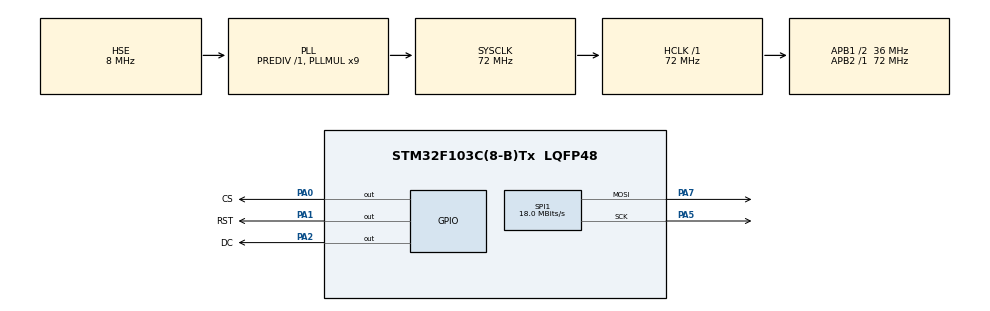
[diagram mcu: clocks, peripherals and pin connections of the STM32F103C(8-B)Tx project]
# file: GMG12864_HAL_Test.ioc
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Mcu.Family=STM32F1
Mcu.Name=STM32F103C(8-B)Tx
Mcu.Package=LQFP48
NVIC.PriorityGroup=NVIC_PRIORITYGROUP_4
PA0-WKUP.GPIO_Label=CS
PA0-WKUP.Signal=GPIO_Output
PA1.GPIO_Label=RST
PA1.Signal=GPIO_Output
PA13.Mode=Serial_Wire
PA13.Signal=SYS_JTMS-SWDIO
PA14.Mode=Serial_Wire
PA14.Signal=SYS_JTCK-SWCLK
PA2.GPIO_Label=DC
PA2.Signal=GPIO_Output
PA5.Mode=TX_Only_Simplex_Unidirect_Master
PA5.Signal=SPI1_SCK
PA7.Mode=TX_Only_Simplex_Unidirect_Master
PA7.Signal=SPI1_MOSI
PD0-OSC_IN.Mode=HSE-External-Oscillator
PD0-OSC_IN.Signal=RCC_OSC_IN
PD1-OSC_OUT.Mode=HSE-External-Oscillator
PD1-OSC_OUT.Signal=RCC_OSC_OUT
ProjectManager.HeapSize=0x200
ProjectManager.StackSize=0x400
ProjectManager.TargetToolchain=STM32CubeIDE
RCC.AHBFreq_Value=72000000
RCC.APB1CLKDivider=RCC_HCLK_DIV2
RCC.APB1Freq_Value=36000000
RCC.APB1TimFreq_Value=72000000
RCC.APB2Freq_Value=72000000
RCC.APB2TimFreq_Value=72000000
RCC.HCLKFreq_Value=72000000
RCC.PLLMUL=RCC_PLL_MUL9
RCC.PLLSourceVirtual=RCC_PLLSOURCE_HSE
RCC.SYSCLKFreq_VALUE=72000000
RCC.SYSCLKSource=RCC_SYSCLKSOURCE_PLLCLK
RCC.USBFreq_Value=72000000
SPI1.BaudRatePrescaler=SPI_BAUDRATEPRESCALER_4
SPI1.CLKPhase=SPI_PHASE_1EDGE
SPI1.CLKPolarity=SPI_POLARITY_LOW
SPI1.CalculateBaudRate=18.0 MBits/s
SPI1.Direction=SPI_DIRECTION_2LINES
SPI1.Mode=SPI_MODE_MASTER
SPI1.VirtualType=VM_MASTER
board=custom

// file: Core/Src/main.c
/* USER CODE BEGIN Header */
/**
 ******************************************************************************
 * @file           : main.c
 * @brief          : Main program body
 ******************************************************************************
 * @attention
 *
 * <h2><center>&copy; Copyright (c) 2023 STMicroelectronics.
 * All rights reserved.</center></h2>
 *
 * This software component is licensed by ST under BSD 3-Clause license,
 * the "License"; You may not use this file except in compliance with the
 * License. You may obtain a copy of the License at:
 *                        opensource.org/licenses/BSD-3-Clause
 *
 ******************************************************************************
 */
/* USER CODE END Header */
#include "main.h"

/* USER CODE BEGIN Includes */
#include "GMG12864_lib.h"

/*----------------------------GMG12864----------------------------------------*/
extern char tx_buffer[128]; //Буфер для отправки текста на дисплей
extern uint8_t Frame_buffer[1024]; //Буфер кадра
extern uint8_t GMG12864_width; //Ширина дисплея в пикселях
extern uint8_t GMG12864_height; //Высота дисплея в пикселях

//Для работы отрисовки графика:
extern uint8_t cnt; //счетчик накопления значений в окне графика
extern const uint8_t size_array; //размер массива. В нашем случае ширина 100 точек(График 100*50 пикселей)
extern uint8_t arr[100]; //значения на графике. Заполняются в определенный момент времени(каждый шаг сдвига графика влево)
extern bool array_is_full; //значения заполнили массив, можно сдвигать график влево
/*----------------------------GMG12864----------------------------------------*/

uint16_t Counter = 0;
uint8_t Value_for_plot = 0;
/* USER CODE END Includes */

SPI_HandleTypeDef hspi1;

void SystemClock_Config(void);
static void MX_GPIO_Init(void);
static void MX_SPI1_Init(void);

int main(void) {

	/* MCU Configuration--------------------------------------------------------*/

	/* Reset of all peripherals, Initializes the Flash interface and the Systick. */
	HAL_Init();

	/* Configure the system clock */
	SystemClock_Config();

	/* Initialize all configured peripherals */
	MX_GPIO_Init();
	MX_SPI1_Init();
	/* USER CODE BEGIN 2 */
	GMG12864_Init();
//GMG12864_logo_demonstration();
    /*пример фигур(да, говнокод)*/
      //Фигуры на белом
    for (uint8_t i = 0; i < 8; i++) {
        for (uint8_t i = 0; i < 10; i++) {
            GMG12864_Clean_Frame_buffer();
            GMG12864_Draw_line(0, 0, 127, 63, 1);
            GMG12864_Draw_line(0, 63, 127, 0, 1);
            GMG12864_Draw_rectangle(80, 5, 30, 20, 1);
            GMG12864_Draw_rectangle_filled(i, i, 50, 10, 1);
            GMG12864_Draw_circle(70 + i, 50, 10, 1);
            GMG12864_Draw_circle_filled(50, 25, 10 + i, 1);
            GMG12864_Draw_triangle(0, 63, 50 + i, 0, 127 - i, 20, 1);
            GMG12864_Draw_triangle_filled(40, 10 + i, 75, 20, 100, 40, 1);
            GMG12864_Update();
        }
        for (uint8_t i = 10; i > 0; i--) {
            GMG12864_Clean_Frame_buffer();
            GMG12864_Draw_line(0, 0, 127, 63, 1);
            GMG12864_Draw_line(0, 63, 127, 0, 1);
            GMG12864_Draw_rectangle(80, 5, 30, 20, 1);
            GMG12864_Draw_rectangle_filled(i, i, 50, 10, 1);
            GMG12864_Draw_circle(70 + i, 50, 10, 1);
            GMG12864_Draw_circle_filled(50, 25, 10 + i, 1);
            GMG12864_Draw_triangle(0, 63, 50 + i, 0, 127 - i, 20, 1);
            GMG12864_Draw_triangle_filled(40, 10 + i, 75, 20, 100, 40, 1);
            GMG12864_Update();
        }
        for (uint8_t i = 0; i < 20; i++) {
            GMG12864_Clean_Frame_buffer();
            GMG12864_Draw_line(0, 0, 127, 63, 1);
            GMG12864_Draw_line(0, 63, 127, 0, 1);
            GMG12864_Draw_rectangle(80, 5, 30, 20, 1);
            GMG12864_Draw_rectangle_filled(i, i, 50, 10, 1);
            GMG12864_Draw_circle(70 + i, 50, 10, 1);
            GMG12864_Draw_circle_filled(50, 25, 10 + i, 1);
            GMG12864_Draw_triangle(0, 63, 50 + i, 0, 127 - i, 20, 1);
            GMG12864_Draw_triangle_filled(40, 10 + i, 75, 20, 100, 40, 1);
            GMG12864_Update();
        }
        for (uint8_t i = 20; i > 0; i--) {
            GMG12864_Clean_Frame_buffer();
            GMG12864_Draw_line(0, 0, 127, 63, 1);
            GMG12864_Draw_line(0, 63, 127, 0, 1);
            GMG12864_Draw_rectangle(80, 5, 30, 20, 1);
            GMG12864_Draw_rectangle_filled(i, i, 50, 10, 1);
            GMG12864_Draw_circle(70 + i, 50, 10, 1);
            GMG12864_Draw_circle_filled(50, 25, 10 + i, 1);
            GMG12864_Draw_triangle(0, 63, 50 + i, 0, 127 - i, 20, 1);
            GMG12864_Draw_triangle_filled(40, 10 + i, 75, 20, 100, 40, 1);
            GMG12864_Update();
        }
    }
    //Фигуры на черном
    for (uint8_t i = 0; i < 8; i++) {
        for (uint8_t i = 0; i < 10; i++) {
            memset(Frame_buffer, 0xFF, sizeof(Frame_buffer));
            GMG12864_Draw_line(0, 0, 127, 63, 0);
            GMG12864_Draw_line(0, 63, 127, 0, 0);
            GMG12864_Draw_rectangle(80, 5, 30, 20, 0);
            GMG12864_Draw_rectangle_filled(i, i, 50, 10, 0);
            GMG12864_Draw_circle(70 + i, 50, 10, 0);
            GMG12864_Draw_circle_filled(50, 25, 10 + i, 0);
            GMG12864_Draw_triangle(0, 63, 50 + i, 0, 127 - i, 20, 0);
            GMG12864_Draw_triangle_filled(40, 10 + i, 75, 20, 100, 40, 0);
            GMG12864_Update();
        }
        for (uint8_t i = 10; i > 0; i--) {
            memset(Frame_buffer, 0xFF, sizeof(Frame_buffer));
            GMG12864_Draw_line(0, 0, 127, 63, 0);
            GMG12864_Draw_line(0, 63, 127, 0, 0);
            GMG12864_Draw_rectangle(80, 5, 30, 20, 0);
            GMG12864_Draw_rectangle_filled(i, i, 50, 10, 0);
            GMG12864_Draw_circle(70 + i, 50, 10, 0);
            GMG12864_Draw_circle_filled(50, 25, 10 + i, 0);
            GMG12864_Draw_triangle(0, 63, 50 + i, 0, 127 - i, 20, 0);
            GMG12864_Draw_triangle_filled(40, 10 + i, 75, 20, 100, 40, 0);
            GMG12864_Update();
        }
        for (uint8_t i = 0; i < 20; i++) {
            memset(Frame_buffer, 0xFF, sizeof(Frame_buffer));
            GMG12864_Draw_line(0, 0, 127, 63, 0);
            GMG12864_Draw_line(0, 63, 127, 0, 0);
            GMG12864_Draw_rectangle(80, 5, 30, 20, 0);
            GMG12864_Draw_rectangle_filled(i, i, 50, 10, 0);
            GMG12864_Draw_circle(70 + i, 50, 10, 0);
            GMG12864_Draw_circle_filled(50, 25, 10 + i, 0);
            GMG12864_Draw_triangle(0, 63, 50 + i, 0, 127 - i, 20, 0);
            GMG12864_Draw_triangle_filled(40, 10 + i, 75, 20, 100, 40, 0);
            GMG12864_Update();
        }
        for (uint8_t i = 20; i > 0; i--) {
            memset(Frame_buffer, 0xFF, sizeof(Frame_buffer));
            GMG12864_Draw_line(0, 0, 127, 63, 0);
            GMG12864_Draw_line(0, 63, 127, 0, 0);
            GMG12864_Draw_rectangle(80, 5, 30, 20, 0);
            GMG12864_Draw_rectangle_filled(i, i, 50, 10, 0);
            GMG12864_Draw_circle(70 + i, 50, 10, 0);
            GMG12864_Draw_circle_filled(50, 25, 10 + i, 0);
            GMG12864_Draw_triangle(0, 63, 50 + i, 0, 127 - i, 20, 0);
            GMG12864_Draw_triangle_filled(40, 10 + i, 75, 20, 100, 40, 0);
            GMG12864_Update();
        }
    }

    /*пример фигур(да, говнокод)*/
	/* USER CODE END 2 */

	/* Infinite loop */
	while (1) {

		/* USER CODE BEGIN 3 */
		Counter++;
		if (Counter == 5000) {
			Counter = 0;
		}
		Value_for_plot = GMG12864_Value_for_Plot(0, 5000, Counter);
		GMG12864_Fill_the_array_Plot(&cnt, arr, size_array, Value_for_plot);
		GMG12864_Generate_a_Graph(&cnt, arr, size_array, 0, 5000, 1, 0, 1);
		sprintf(tx_buffer, "%d", Counter);
		GMG12864_Decode_UTF8(0, 55, 1, 0, tx_buffer);
		GMG12864_Update();

	}
	/* USER CODE END 3 */
}

void SystemClock_Config(void) {
	RCC_OscInitTypeDef RCC_OscInitStruct = { 0 };
	RCC_ClkInitTypeDef RCC_ClkInitStruct = { 0 };

	/** Initializes the RCC Oscillators according to the specified parameters
	 * in the RCC_OscInitTypeDef structure.
	 */
	RCC_OscInitStruct.OscillatorType = RCC_OSCILLATORTYPE_HSE;
	RCC_OscInitStruct.HSEState = RCC_HSE_ON;
	RCC_OscInitStruct.HSEPredivValue = RCC_HSE_PREDIV_DIV1;
	RCC_OscInitStruct.HSIState = RCC_HSI_ON;
	RCC_OscInitStruct.PLL.PLLState = RCC_PLL_ON;
	RCC_OscInitStruct.PLL.PLLSource = RCC_PLLSOURCE_HSE;
	RCC_OscInitStruct.PLL.PLLMUL = RCC_PLL_MUL9;
	if (HAL_RCC_OscConfig(&RCC_OscInitStruct) != HAL_OK) {
		Error_Handler();
	}
	/** Initializes the CPU, AHB and APB buses clocks
	 */
	RCC_ClkInitStruct.ClockType = RCC_CLOCKTYPE_HCLK | RCC_CLOCKTYPE_SYSCLK | RCC_CLOCKTYPE_PCLK1 | RCC_CLOCKTYPE_PCLK2;
	RCC_ClkInitStruct.SYSCLKSource = RCC_SYSCLKSOURCE_PLLCLK;
	RCC_ClkInitStruct.AHBCLKDivider = RCC_SYSCLK_DIV1;
	RCC_ClkInitStruct.APB1CLKDivider = RCC_HCLK_DIV2;
	RCC_ClkInitStruct.APB2CLKDivider = RCC_HCLK_DIV1;

	if (HAL_RCC_ClockConfig(&RCC_ClkInitStruct, FLASH_LATENCY_2) != HAL_OK) {
		Error_Handler();
	}
}

static void MX_SPI1_Init(void) {

	/* SPI1 parameter configuration*/
	hspi1.Instance = SPI1;
	hspi1.Init.Mode = SPI_MODE_MASTER;
	hspi1.Init.Direction = SPI_DIRECTION_2LINES;
	hspi1.Init.DataSize = SPI_DATASIZE_8BIT;
	hspi1.Init.CLKPolarity = SPI_POLARITY_LOW;
	hspi1.Init.CLKPhase = SPI_PHASE_1EDGE;
	hspi1.Init.NSS = SPI_NSS_SOFT;
	hspi1.Init.BaudRatePrescaler = SPI_BAUDRATEPRESCALER_4;
	hspi1.Init.FirstBit = SPI_FIRSTBIT_MSB;
	hspi1.Init.TIMode = SPI_TIMODE_DISABLE;
	hspi1.Init.CRCCalculation = SPI_CRCCALCULATION_DISABLE;
	hspi1.Init.CRCPolynomial = 10;
	if (HAL_SPI_Init(&hspi1) != HAL_OK) {
		Error_Handler();
	}

}

static void MX_GPIO_Init(void) {
	GPIO_InitTypeDef GPIO_InitStruct = { 0 };

	/* GPIO Ports Clock Enable */
	__HAL_RCC_GPIOD_CLK_ENABLE();
	__HAL_RCC_GPIOA_CLK_ENABLE();

	/*Configure GPIO pin Output Level */
	HAL_GPIO_WritePin(GPIOA, CS_Pin | RST_Pin | DC_Pin, GPIO_PIN_RESET);

	/*Configure GPIO pins : CS_Pin RST_Pin DC_Pin */
	GPIO_InitStruct.Pin = CS_Pin | RST_Pin | DC_Pin;
	GPIO_InitStruct.Mode = GPIO_MODE_OUTPUT_PP;
	GPIO_InitStruct.Pull = GPIO_NOPULL;
	GPIO_InitStruct.Speed = GPIO_SPEED_FREQ_LOW;
	HAL_GPIO_Init(GPIOA, &GPIO_InitStruct);

}

void Error_Handler(void) {
	__disable_irq();
	while (1) {
	}
}

/************************ (C) COPYRIGHT STMicroelectronics *****END OF FILE****/
